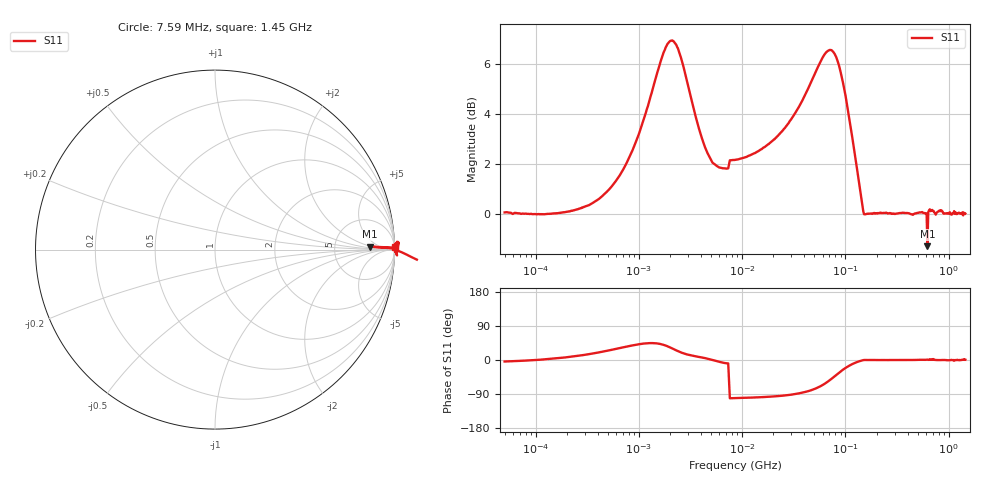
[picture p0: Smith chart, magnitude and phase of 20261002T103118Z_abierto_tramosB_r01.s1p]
! piloto_saltos / abierto_tramosB / r01
# HZ S RI R 50
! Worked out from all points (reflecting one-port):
!   501 points, 50 kHz to 1.45 GHz, reference 50 ohm
!   lowest |S11| = -1.3 dB at 622 MHz (marker M1), VSWR 13.68, Z = 673 + j87.6 ohm
!   phase of S11 starts at -4 deg and turns +5 deg over the sweep
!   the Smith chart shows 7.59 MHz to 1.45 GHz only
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50000  1.006 -0.07
182500  1.003 0.1062
381000  1.008 0.3376
678000  1.023 0.651
1164000  1.149 1.105
1623000  1.502 1.353
1920000  1.789 1.274
2379000  1.97 0.8562
2730000  1.866 0.5755
3000000  1.75 0.4323
4620000  1.322 0.0775
6780000  1.223 -0.1725
8130000  -0.2386 -1.262
8670000  -0.2335 -1.264
1.866e7  -0.1635 -1.38
3.27e7  0.00779 -1.595
4.89e7  0.4026 -1.836
5.7e7  0.705 -1.886
6.51e7  1.055 -1.824
7.32e7  1.376 -1.623
8.67e7  1.653 -1.091
9.75e7  1.633 -0.6949
1.137e8  1.437 -0.3107
1.326e8  1.187 -0.0893
1.542e8  1 0.00155
4.035e8  1.006 0.000108
6.22e8  0.8636 0.0165
1.45e9  1.003 0.0142
